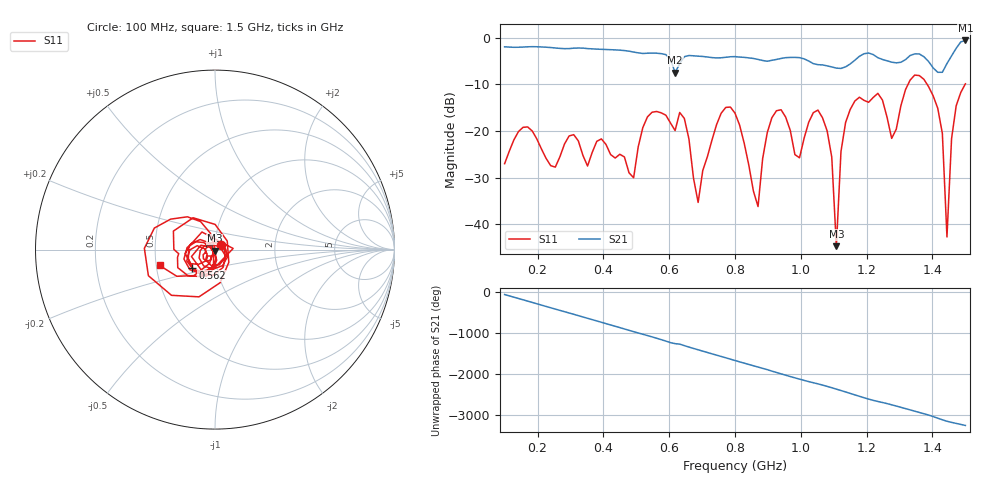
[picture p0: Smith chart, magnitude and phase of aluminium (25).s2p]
! NanoVNA-App
! Date: 2025-09-25 14:55:28
! Start: 100MHz Stop: 1,5GHz Points: 101
! S-Parameter data: F S11 S21 S12 S22
# Hz S RI R 50
!  Frequency  S11_Real  S11_Imag  S21_Real  S21_Imag  S12_Real  S12_Imag  S22_Real  S22_Imag
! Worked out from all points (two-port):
!   101 points, 100 MHz to 1.5 GHz, reference 50 ohm
!   highest |S21| = -0.56 dB at 1.5 GHz (marker M1); lowest = -7.4 dB at 618 MHz (marker M2)
!   |S21| within 3 dB of the highest: start of sweep to 587.3 MHz; 1.461 GHz to end of sweep (the widest 2 of 4)
!   lowest |S11| = -44.7 dB at 1.108 GHz (marker M3), VSWR 1.01, Z = 49.8 - j0.549 ohm
!   |S11| at or under -10 dB: start of sweep to 1.326 GHz; 1.384 GHz to 1.499 GHz (115.2 MHz wide, 7.99 % of centre)
!   S12 and S22 are empty: the file has one direction only
!   S11 on the Smith chart (normalised r, x): 100 MHz: 1.07, +0.06; 562 MHz: 0.76, -0.16; 1.5 GHz: 0.52, -0.10
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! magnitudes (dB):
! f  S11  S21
! 100 MHz  -27.0  -1.9
! 338 MHz  -25.2  -2.2
! 492 MHz  -30.0  -3.1
! 562 MHz  -15.8  -3.3
! 576 MHz  -16.1  -3.4
! 618 MHz  -19.9  -7.4
! 688 MHz  -35.3  -3.9
! 800 MHz  -16.2  -4.0
! 870 MHz  -36.2  -4.6
! 912 MHz  -17.1  -4.8
! 996 MHz  -25.7  -4.2
! 1.038 GHz  -16.1  -5.5
! 1.094 GHz  -25.6  -6.2
! 1.108 GHz  -44.7  -6.5
! 1.122 GHz  -24.4  -6.6
! 1.15 GHz  -15.4  -5.6
! 1.276 GHz  -21.6  -5.2
! 1.388 GHz  -10.5  -5.1
! 1.43 GHz  -20.5  -7.4
! 1.444 GHz  -42.7  -5.5
! 1.458 GHz  -21.6  -3.9
! 1.5 GHz  -9.9  -0.6
